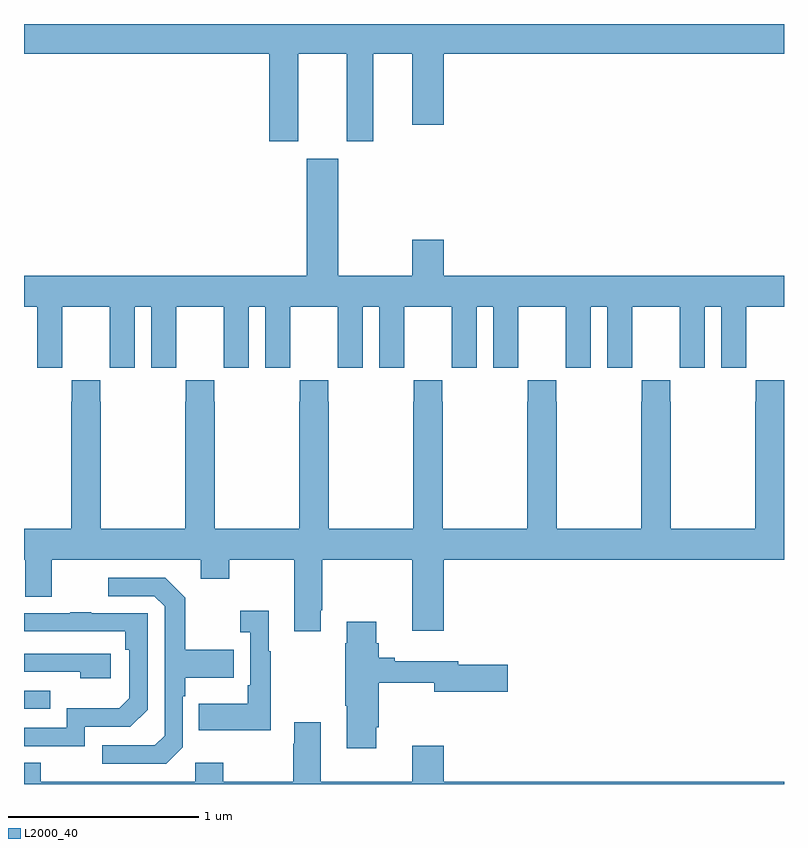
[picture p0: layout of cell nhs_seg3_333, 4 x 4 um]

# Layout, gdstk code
import gdstk
lib = gdstk.Library(unit=1e-6, precision=1e-09)
def R(c, l, rs):  # rectangles x0, y0, x1, y1
    for r in rs: c.add(gdstk.rectangle(r[:2], r[2:], *l))
def P(c, l, *ps):  # polygons
    for p in ps: c.add(gdstk.Polygon(p, *l))
L2000_40 = (2000, 40)

nhs_seg3_333 = lib.new_cell('nhs_seg3_333')
R(nhs_seg3_333, L2000_40, [(127,702.795,127.139,702.891)])
P(nhs_seg3_333, L2000_40, [(128.443,706.244),(128.699,706.244),(128.699,705.783),(128.839,705.783),(128.839,706.244),(129.044,706.244),(129.044,705.87),(129.208,705.87),(129.208,706.244),(131,706.244),(131,706.4),(127,706.4),(127,706.244),(128.291,706.244),(128.291,705.783),(128.443,705.783)],
  [(127.2,704.704),(127.201,704.704),(127.201,704.912),(127.451,704.912),(127.451,704.704),(127.452,704.704),(127.452,704.592),(127.582,704.592),(127.582,704.912),(127.67,704.912),(127.67,704.592),(127.8,704.592),(127.8,704.704),(127.801,704.704),(127.801,704.912),(128.051,704.912),(128.051,704.704),(128.052,704.704),(128.052,704.592),(128.182,704.592),(128.182,704.912),(128.27,704.912),(128.27,704.592),(128.4,704.592),(128.4,704.704),(128.401,704.704),(128.401,704.912),(128.651,704.912),(128.651,704.704),(128.652,704.704),(128.652,704.592),(128.782,704.592),(128.782,704.912),(128.87,704.912),(128.87,704.592),(129,704.592),(129,704.704),(129.001,704.704),(129.001,704.912),(129.251,704.912),(129.251,704.704),(129.252,704.704),(129.252,704.592),(129.382,704.592),(129.382,704.912),(129.47,704.912),(129.47,704.592),(129.6,704.592),(129.6,704.704),(129.601,704.704),(129.601,704.912),(129.851,704.912),(129.851,704.704),(129.852,704.704),(129.852,704.592),(129.982,704.592),(129.982,704.912),(130.07,704.912),(130.07,704.592),(130.2,704.592),(130.2,704.704),(130.201,704.704),(130.201,704.912),(130.451,704.912),(130.451,704.704),(130.452,704.704),(130.452,704.592),(130.582,704.592),(130.582,704.912),(130.67,704.912),(130.67,704.592),(130.8,704.592),(130.8,704.704),(130.801,704.704),(130.801,704.912),(131,704.912),(131,705.076),(129.208,705.076),(129.208,705.265),(129.044,705.265),(129.044,705.076),(128.653,705.076),(128.653,705.691),(128.489,705.691),(128.489,705.076),(127,705.076),(127,704.912),(127.07,704.912),(127.07,704.592),(127.2,704.592)],
  [(128.563,703.315),(128.571,703.315),(128.571,703.58),(129.044,703.58),(129.044,703.206),(129.208,703.206),(129.208,703.58),(131,703.58),(131,704.524),(130.851,704.524),(130.851,704.411),(130.849,704.411),(130.849,703.744),(130.404,703.744),(130.404,704.411),(130.401,704.411),(130.401,704.524),(130.251,704.524),(130.251,704.411),(130.249,704.411),(130.249,703.744),(129.804,703.744),(129.804,704.411),(129.801,704.411),(129.801,704.524),(129.651,704.524),(129.651,704.411),(129.649,704.411),(129.649,703.744),(129.204,703.744),(129.204,704.411),(129.201,704.411),(129.201,704.524),(129.051,704.524),(129.051,704.411),(129.049,704.411),(129.049,703.744),(128.604,703.744),(128.604,704.411),(128.601,704.411),(128.601,704.524),(128.451,704.524),(128.451,704.411),(128.449,704.411),(128.449,703.744),(128.004,703.744),(128.004,704.411),(128.001,704.411),(128.001,704.524),(127.851,704.524),(127.851,704.411),(127.849,704.411),(127.849,703.744),(127.404,703.744),(127.404,704.411),(127.401,704.411),(127.401,704.524),(127.251,704.524),(127.251,704.411),(127.249,704.411),(127.249,703.744),(127,703.744),(127,703.58),(127.007,703.58),(127.007,703.386),(127.147,703.386),(127.147,703.58),(127.931,703.58),(127.931,703.481),(128.079,703.481),(128.079,703.58),(128.423,703.58),(128.423,703.203),(128.563,703.203)],
  [(127.836,702.594),(127.836,702.863),(127.849,702.863),(127.849,702.959),(128.105,702.959),(128.105,703.107),(127.849,703.107),(127.849,703.379),(127.743,703.485),(127.443,703.485),(127.443,703.389),(127.686,703.389),(127.74,703.335),(127.74,702.654),(127.689,702.603),(127.413,702.603),(127.413,702.507),(127.749,702.507)],
  [(128.299,703.099),(128.287,703.099),(128.287,703.312),(128.139,703.312),(128.139,703.199),(128.19,703.199),(128.19,702.919),(128.178,702.919),(128.178,702.823),(127.921,702.823),(127.921,702.683),(128.299,702.683)],
  [(127.32,702.702),(127.56,702.702),(127.65,702.792),(127.65,703.299),(127.355,703.299),(127.355,703.304),(127.243,703.304),(127.243,703.299),(127,703.299),(127,703.203),(127.534,703.203),(127.534,703.106),(127.554,703.106),(127.554,702.852),(127.501,702.799),(127.224,702.799),(127.224,702.696),(127,702.696),(127,702.6),(127.32,702.6)],
  [(128.854,702.7),(128.867,702.7),(128.867,702.932),(129.158,702.932),(129.158,702.886),(129.547,702.886),(129.547,703.028),(129.286,703.028),(129.286,703.045),(128.95,703.045),(128.95,703.064),(128.867,703.064),(128.867,703.142),(128.854,703.142),(128.854,703.255),(128.699,703.255),(128.699,703.142),(128.692,703.142),(128.692,702.811),(128.699,702.811),(128.699,702.588),(128.854,702.588)],
  [(127.456,703.086),(127,703.086),(127,702.99),(127.295,702.99),(127.295,702.956),(127.456,702.956)],
  [(131,702.412),(129.208,702.412),(129.208,702.601),(129.044,702.601),(129.044,702.412),(128.563,702.412),(128.563,702.724),(128.423,702.724),(128.423,702.611),(128.416,702.611),(128.416,702.412),(128.049,702.412),(128.049,702.511),(127.902,702.511),(127.902,702.412),(127.089,702.412),(127.089,702.511),(127,702.511),(127,702.4),(131,702.4)])

lib.write_gds('nhs_seg3_333.gds')
